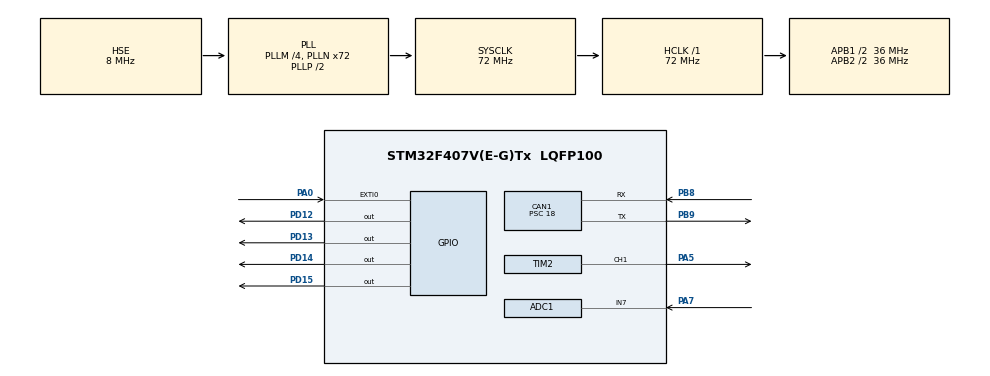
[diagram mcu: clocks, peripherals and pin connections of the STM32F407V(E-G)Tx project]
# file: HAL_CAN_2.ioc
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ADC1.Channel-0\#ChannelRegularConversion=ADC_CHANNEL_7
ADC1.NbrOfConversionFlag=1
ADC1.Rank-0\#ChannelRegularConversion=1
ADC1.SamplingTime-0\#ChannelRegularConversion=ADC_SAMPLETIME_3CYCLES
ADC1.master=1
CAN1.BS1=CAN_BS1_2TQ
CAN1.CalculateBaudRate=500000
CAN1.CalculateTimeBit=2000
CAN1.CalculateTimeQuantum=500.0
CAN1.Prescaler=18
Mcu.Family=STM32F4
Mcu.Name=STM32F407V(E-G)Tx
Mcu.Package=LQFP100
NVIC.CAN1_RX0_IRQn=true\:0\:0\:false\:false\:true\:true\:true\:true
NVIC.EXTI0_IRQn=true\:0\:0\:false\:false\:true\:true\:true\:true
NVIC.PriorityGroup=NVIC_PRIORITYGROUP_0
PA0-WKUP.GPIO_ModeDefaultEXTI=GPIO_MODE_IT_FALLING
PA0-WKUP.Signal=GPXTI0
PA5.Signal=S_TIM2_CH1_ETR
PA7.Signal=ADCx_IN7
PB8.Mode=CAN_Activate
PB8.Signal=CAN1_RX
PB9.Mode=CAN_Activate
PB9.Signal=CAN1_TX
PD12.Signal=GPIO_Output
PD13.Signal=GPIO_Output
PD14.Signal=GPIO_Output
PD15.Signal=GPIO_Output
PH0-OSC_IN.Mode=HSE-External-Oscillator
PH0-OSC_IN.Signal=RCC_OSC_IN
PH1-OSC_OUT.Mode=HSE-External-Oscillator
PH1-OSC_OUT.Signal=RCC_OSC_OUT
ProjectManager.HeapSize=0x200
ProjectManager.StackSize=0x400
ProjectManager.TargetToolchain=STM32CubeIDE
RCC.48MHZClocksFreq_Value=20571428.57142857
RCC.AHBFreq_Value=72000000
RCC.APB1CLKDivider=RCC_HCLK_DIV2
RCC.APB1Freq_Value=36000000
RCC.APB1TimFreq_Value=72000000
RCC.APB2CLKDivider=RCC_HCLK_DIV2
RCC.APB2Freq_Value=36000000
RCC.APB2TimFreq_Value=72000000
RCC.CortexFreq_Value=72000000
RCC.HCLKFreq_Value=72000000
RCC.HSE_VALUE=8000000
RCC.HSI_VALUE=16000000
RCC.LSE_VALUE=32768
RCC.PLLM=4
RCC.PLLN=72
RCC.PLLQ=7
RCC.PLLSourceVirtual=RCC_PLLSOURCE_HSE
RCC.SYSCLKFreq_VALUE=72000000
RCC.SYSCLKSource=RCC_SYSCLKSOURCE_PLLCLK
RCC.VCOOutputFreq_Value=144000000
SH.ADCx_IN7.0=ADC1_IN7,IN7
SH.S_TIM2_CH1_ETR.0=TIM2_CH1,PWM Generation1 CH1
TIM2.Channel-PWM\ Generation1\ CH1=TIM_CHANNEL_1
TIM2.Period=300
TIM2.Prescaler=24
TIM4.Prescaler=84-1
VP_TIM2_VS_ClockSourceINT.Mode=Internal
VP_TIM4_VS_ClockSourceINT.Mode=Internal
board=STM32F407G-DISC1

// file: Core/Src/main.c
/* USER CODE BEGIN Header */
/**
  ******************************************************************************
  * @file           : main.c
  * @brief          : Main program body
  ******************************************************************************
  * @attention
  *
  * Copyright (c) 2024 STMicroelectronics.
  * All rights reserved.
  *
  * This software is licensed under terms that can be found in the LICENSE file
  * in the root directory of this software component.
  * If no LICENSE file comes with this software, it is provided AS-IS.
  *
  ******************************************************************************
  */
/* USER CODE END Header */
#include "main.h"

/* USER CODE BEGIN Includes */
#include <stdio.h>
#include <string.h>

uint16_t count=0;
void adjustPWM(uint16_t);
uint16_t ir_value=0;
/* USER CODE END Includes */

/* USER CODE BEGIN PD */
		//GPIO_PIN_12
/* USER CODE END PD */

ADC_HandleTypeDef hadc1;

CAN_HandleTypeDef hcan1;

TIM_HandleTypeDef htim2;
TIM_HandleTypeDef htim4;

/* USER CODE BEGIN PV */
CAN_TxHeaderTypeDef TxHeader;
uint8_t TxData[8]={0};
uint32_t TxMailBox;
//.....................................

/* USER CODE END PV */

void SystemClock_Config(void);
static void MX_GPIO_Init(void);
static void MX_CAN1_Init(void);
static void MX_TIM4_Init(void);
static void MX_ADC1_Init(void);
static void MX_TIM2_Init(void);

/* USER CODE BEGIN 0 */
void HAL_GPIO_EXTI_Callback(uint16_t GPIO_Pin)
{
	count++;
	adjustPWM(count);

}
void adjustPWM(uint16_t count) {

    static uint16_t pwm_value = 0;
    switch(count) {
        case 1:
           pwm_value += 50;
            HAL_GPIO_TogglePin(GPIOD, GPIO_PIN_12);
            break;
        case 2:
            pwm_value += 75;
            HAL_GPIO_TogglePin(GPIOD, GPIO_PIN_13);

            break;

        case 3:

            pwm_value += 100;

            HAL_GPIO_TogglePin(GPIOD, GPIO_PIN_14);

            break;

        case 4:

            pwm_value += 150;

            HAL_GPIO_TogglePin(GPIOD, GPIO_PIN_15);

            break;

        case 5:

            pwm_value += 200;

            break;

        case 6:

        	pwm_value +=250;

        	break;

        default:

            return;

    }

    __HAL_TIM_SET_COMPARE(&htim2,TIM_CHANNEL_1,pwm_value);
   }

/* USER CODE END 0 */

int main(void)
{

  /* MCU Configuration--------------------------------------------------------*/

  /* Reset of all peripherals, Initializes the Flash interface and the Systick. */
  HAL_Init();

  /* Configure the system clock */
  SystemClock_Config();

  /* Initialize all configured peripherals */
  MX_GPIO_Init();
  MX_CAN1_Init();
  MX_TIM4_Init();
  MX_ADC1_Init();
  MX_TIM2_Init();
  /* USER CODE BEGIN 2 */
  HAL_CAN_Start(&hcan1);
  HAL_TIM_IC_Start_IT(&htim4, TIM_CHANNEL_1);
  /* USER CODE END 2 */

  /* Infinite loop */
  /* USER CODE BEGIN WHILE */
	TxHeader.DLC = 2;
	TxHeader.RTR = CAN_RTR_DATA;
	TxHeader.IDE = CAN_ID_STD;
	TxHeader.StdId = 0x0A9;
	TxHeader.ExtId = 0x0000;
	TxHeader.TransmitGlobalTime = DISABLE;

  while (1)
  {
    /* USER CODE END WHILE */

    /* USER CODE BEGIN 3 */
	HAL_ADC_Start(&hadc1);
	HAL_ADC_PollForConversion(&hadc1, HAL_MAX_DELAY);
	int ir_value = HAL_ADC_GetValue(&hadc1);
	HAL_ADC_Stop(&hadc1);

	HAL_GPIO_WritePin(GPIOD, GPIO_PIN_14, GPIO_PIN_RESET);
	//uint16_t switch_read = HAL_GPIO_ReadPin(GPIOA, GPIO_PIN_0);
//	if(switch_read == GPIO_PIN_SET)
//	{
//		HAL_GPIO_WritePin(GPIOD, GPIO_PIN_14, GPIO_PIN_SET);
//		TxData[0] = 1;
//		HAL_CAN_AddTxMessage(&hcan1, &TxHeader, TxData, &TxMailBox);
//	}

	TxData[0] = (uint8_t)ir_value >> 8;
	TxData[1] = (uint8_t)ir_value & 0xFF;
	if(HAL_CAN_AddTxMessage(&hcan1, &TxHeader, TxData, &TxMailBox) != HAL_OK)
				Error_Handler();
	HAL_Delay(100);
  }
  /* USER CODE END 3 */
}

void SystemClock_Config(void)
{
  RCC_OscInitTypeDef RCC_OscInitStruct = {0};
  RCC_ClkInitTypeDef RCC_ClkInitStruct = {0};

  /** Configure the main internal regulator output voltage
  */
  __HAL_RCC_PWR_CLK_ENABLE();
  __HAL_PWR_VOLTAGESCALING_CONFIG(PWR_REGULATOR_VOLTAGE_SCALE1);

  /** Initializes the RCC Oscillators according to the specified parameters
  * in the RCC_OscInitTypeDef structure.
  */
  RCC_OscInitStruct.OscillatorType = RCC_OSCILLATORTYPE_HSE;
  RCC_OscInitStruct.HSEState = RCC_HSE_ON;
  RCC_OscInitStruct.PLL.PLLState = RCC_PLL_ON;
  RCC_OscInitStruct.PLL.PLLSource = RCC_PLLSOURCE_HSE;
  RCC_OscInitStruct.PLL.PLLM = 4;
  RCC_OscInitStruct.PLL.PLLN = 72;
  RCC_OscInitStruct.PLL.PLLP = RCC_PLLP_DIV2;
  RCC_OscInitStruct.PLL.PLLQ = 7;
  if (HAL_RCC_OscConfig(&RCC_OscInitStruct) != HAL_OK)
  {
    Error_Handler();
  }

  /** Initializes the CPU, AHB and APB buses clocks
  */
  RCC_ClkInitStruct.ClockType = RCC_CLOCKTYPE_HCLK|RCC_CLOCKTYPE_SYSCLK
                              |RCC_CLOCKTYPE_PCLK1|RCC_CLOCKTYPE_PCLK2;
  RCC_ClkInitStruct.SYSCLKSource = RCC_SYSCLKSOURCE_PLLCLK;
  RCC_ClkInitStruct.AHBCLKDivider = RCC_SYSCLK_DIV1;
  RCC_ClkInitStruct.APB1CLKDivider = RCC_HCLK_DIV2;
  RCC_ClkInitStruct.APB2CLKDivider = RCC_HCLK_DIV2;

  if (HAL_RCC_ClockConfig(&RCC_ClkInitStruct, FLASH_LATENCY_2) != HAL_OK)
  {
    Error_Handler();
  }
}

static void MX_ADC1_Init(void)
{

  ADC_ChannelConfTypeDef sConfig = {0};

  /** Configure the global features of the ADC (Clock, Resolution, Data Alignment and number of conversion)
  */
  hadc1.Instance = ADC1;
  hadc1.Init.ClockPrescaler = ADC_CLOCK_SYNC_PCLK_DIV2;
  hadc1.Init.Resolution = ADC_RESOLUTION_12B;
  hadc1.Init.ScanConvMode = DISABLE;
  hadc1.Init.ContinuousConvMode = DISABLE;
  hadc1.Init.DiscontinuousConvMode = DISABLE;
  hadc1.Init.ExternalTrigConvEdge = ADC_EXTERNALTRIGCONVEDGE_NONE;
  hadc1.Init.ExternalTrigConv = ADC_SOFTWARE_START;
  hadc1.Init.DataAlign = ADC_DATAALIGN_RIGHT;
  hadc1.Init.NbrOfConversion = 1;
  hadc1.Init.DMAContinuousRequests = DISABLE;
  hadc1.Init.EOCSelection = ADC_EOC_SINGLE_CONV;
  if (HAL_ADC_Init(&hadc1) != HAL_OK)
  {
    Error_Handler();
  }

  /** Configure for the selected ADC regular channel its corresponding rank in the sequencer and its sample time.
  */
  sConfig.Channel = ADC_CHANNEL_7;
  sConfig.Rank = 1;
  sConfig.SamplingTime = ADC_SAMPLETIME_3CYCLES;
  if (HAL_ADC_ConfigChannel(&hadc1, &sConfig) != HAL_OK)
  {
    Error_Handler();
  }

}

static void MX_CAN1_Init(void)
{

  hcan1.Instance = CAN1;
  hcan1.Init.Prescaler = 18;
  hcan1.Init.Mode = CAN_MODE_NORMAL;
  hcan1.Init.SyncJumpWidth = CAN_SJW_1TQ;
  hcan1.Init.TimeSeg1 = CAN_BS1_2TQ;
  hcan1.Init.TimeSeg2 = CAN_BS2_1TQ;
  hcan1.Init.TimeTriggeredMode = DISABLE;
  hcan1.Init.AutoBusOff = DISABLE;
  hcan1.Init.AutoWakeUp = DISABLE;
  hcan1.Init.AutoRetransmission = DISABLE;
  hcan1.Init.ReceiveFifoLocked = DISABLE;
  hcan1.Init.TransmitFifoPriority = DISABLE;
  if (HAL_CAN_Init(&hcan1) != HAL_OK)
  {
    Error_Handler();
  }
  /* USER CODE BEGIN CAN1_Init 2 */
  CAN_FilterTypeDef FilterConfig;
  //FilterConfig.SlaveStartFilterBank = 9;
  FilterConfig.FilterActivation = CAN_FILTER_ENABLE;
  FilterConfig.FilterBank = 0;
  FilterConfig.FilterScale = CAN_FILTERSCALE_32BIT;
  FilterConfig.FilterMode = CAN_FILTERMODE_IDMASK;
  FilterConfig.FilterMaskIdHigh = 0xFF00;
  FilterConfig.FilterMaskIdLow = 0x0000;
  FilterConfig.FilterIdHigh = 0x1500;
  FilterConfig.FilterIdLow = 0x0000;
  FilterConfig.FilterFIFOAssignment = CAN_RX_FIFO0;

  if(HAL_CAN_ConfigFilter(&hcan1, &FilterConfig) != HAL_OK)
	   Error_Handler();
  /* USER CODE END CAN1_Init 2 */

}

static void MX_TIM2_Init(void)
{

  TIM_MasterConfigTypeDef sMasterConfig = {0};
  TIM_OC_InitTypeDef sConfigOC = {0};

  htim2.Instance = TIM2;
  htim2.Init.Prescaler = 24;
  htim2.Init.CounterMode = TIM_COUNTERMODE_UP;
  htim2.Init.Period = 300;
  htim2.Init.ClockDivision = TIM_CLOCKDIVISION_DIV1;
  htim2.Init.AutoReloadPreload = TIM_AUTORELOAD_PRELOAD_DISABLE;
  if (HAL_TIM_PWM_Init(&htim2) != HAL_OK)
  {
    Error_Handler();
  }
  sMasterConfig.MasterOutputTrigger = TIM_TRGO_RESET;
  sMasterConfig.MasterSlaveMode = TIM_MASTERSLAVEMODE_DISABLE;
  if (HAL_TIMEx_MasterConfigSynchronization(&htim2, &sMasterConfig) != HAL_OK)
  {
    Error_Handler();
  }
  sConfigOC.OCMode = TIM_OCMODE_PWM1;
  sConfigOC.Pulse = 0;
  sConfigOC.OCPolarity = TIM_OCPOLARITY_HIGH;
  sConfigOC.OCFastMode = TIM_OCFAST_DISABLE;
  if (HAL_TIM_PWM_ConfigChannel(&htim2, &sConfigOC, TIM_CHANNEL_1) != HAL_OK)
  {
    Error_Handler();
  }
  HAL_TIM_MspPostInit(&htim2);

}

static void MX_TIM4_Init(void)
{

  TIM_ClockConfigTypeDef sClockSourceConfig = {0};
  TIM_MasterConfigTypeDef sMasterConfig = {0};

  htim4.Instance = TIM4;
  htim4.Init.Prescaler = 84-1;
  htim4.Init.CounterMode = TIM_COUNTERMODE_UP;
  htim4.Init.Period = 65535;
  htim4.Init.ClockDivision = TIM_CLOCKDIVISION_DIV1;
  htim4.Init.AutoReloadPreload = TIM_AUTORELOAD_PRELOAD_DISABLE;
  if (HAL_TIM_Base_Init(&htim4) != HAL_OK)
  {
    Error_Handler();
  }
  sClockSourceConfig.ClockSource = TIM_CLOCKSOURCE_INTERNAL;
  if (HAL_TIM_ConfigClockSource(&htim4, &sClockSourceConfig) != HAL_OK)
  {
    Error_Handler();
  }
  sMasterConfig.MasterOutputTrigger = TIM_TRGO_RESET;
  sMasterConfig.MasterSlaveMode = TIM_MASTERSLAVEMODE_DISABLE;
  if (HAL_TIMEx_MasterConfigSynchronization(&htim4, &sMasterConfig) != HAL_OK)
  {
    Error_Handler();
  }

}

static void MX_GPIO_Init(void)
{
  GPIO_InitTypeDef GPIO_InitStruct = {0};

  /* GPIO Ports Clock Enable */
  __HAL_RCC_GPIOH_CLK_ENABLE();
  __HAL_RCC_GPIOA_CLK_ENABLE();
  __HAL_RCC_GPIOD_CLK_ENABLE();
  __HAL_RCC_GPIOB_CLK_ENABLE();

  /*Configure GPIO pin Output Level */
  HAL_GPIO_WritePin(GPIOD, GPIO_PIN_14, GPIO_PIN_RESET);

  /*Configure GPIO pin : PA0 */
  GPIO_InitStruct.Pin = GPIO_PIN_0;
  GPIO_InitStruct.Mode = GPIO_MODE_INPUT;
  GPIO_InitStruct.Pull = GPIO_NOPULL;
  HAL_GPIO_Init(GPIOA, &GPIO_InitStruct);

  /*Configure GPIO pin : PD14 */
  GPIO_InitStruct.Pin = GPIO_PIN_14;
  GPIO_InitStruct.Mode = GPIO_MODE_OUTPUT_PP;
  GPIO_InitStruct.Pull = GPIO_NOPULL;
  GPIO_InitStruct.Speed = GPIO_SPEED_FREQ_LOW;
  HAL_GPIO_Init(GPIOD, &GPIO_InitStruct);

}

void Error_Handler(void)
{
  __disable_irq();
  while (1)
  {
  }
}
